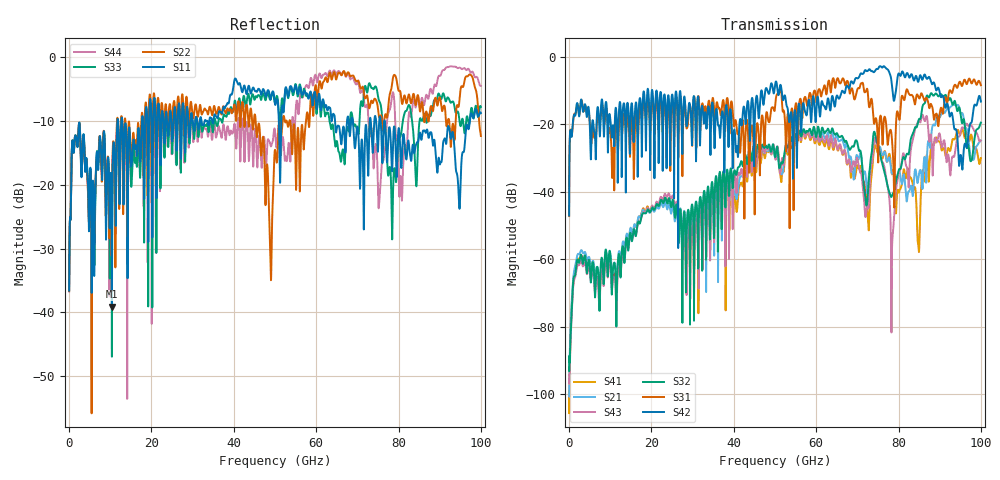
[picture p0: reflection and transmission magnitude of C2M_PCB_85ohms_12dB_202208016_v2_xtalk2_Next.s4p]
! Info: Touchstone file created by Circ.  Input file=Intel_C2M_200G_2p5in_202208016_staggered.circ
# Hz S RI R 50
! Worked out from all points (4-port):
!   10000 points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, 10 MHz to 100 GHz, reference 50 ohm
!   strongest paths, dB at 10 MHz, 25.01 GHz, 50.01 GHz, 75.01 GHz, 100 GHz:
!     S42: -47.0, -11.2, -8.4, -3.5, -13.2
!     S31: -47.2, -12.9, -15.0, -29.4, -8.4
!     S32: -92.2, -43.1, -29.7, -26.1, -19.5
!     S43: -95.8, -41.2, -29.6, -27.1, -24.8
!     S21: -100.7, -44.5, -29.7, -26.2, -24.8
!     S41: -99.2, -43.1, -29.6, -28.4, -30.0
!   lowest |S11| = -39.1 dB at 10.4 GHz (marker M1), VSWR 1.02, Z = 50.1 - j1.11 ohm
!   |S11| at or under -10 dB: start of sweep to 11.73 GHz; 12.91 GHz to 17.7 GHz (4.789 GHz wide, 31.3 % of centre); 76.67 GHz to 97.31 GHz (20.64 GHz wide, 23.7 % of centre)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
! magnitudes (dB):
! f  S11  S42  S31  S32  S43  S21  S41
! 10 MHz  -36.6  -47.0  -47.2  -92.2  -95.8  -100.7  -99.2
! 10.4 GHz  -39.1  -23.9  -32.9  -70.1  -69.1  -63.6  -65.5
! 56.93 GHz  -5.4  -13.8  -13.4  -21.4  -22.1  -21.6  -22.3
! 74.47 GHz  -9.5  -3.8  -18.2  -23.7  -24.8  -24.6  -26.5
! 78.49 GHz  -17.4  -9.4  -25.9  -40.9  -54.4  -34.7  -34.8
! 85.46 GHz  -12.8  -5.8  -10.9  -17.6  -18.8  -34.0  -39.6
! 100 GHz  -8.7  -13.2  -8.4  -19.5  -24.8  -24.8  -30.0
